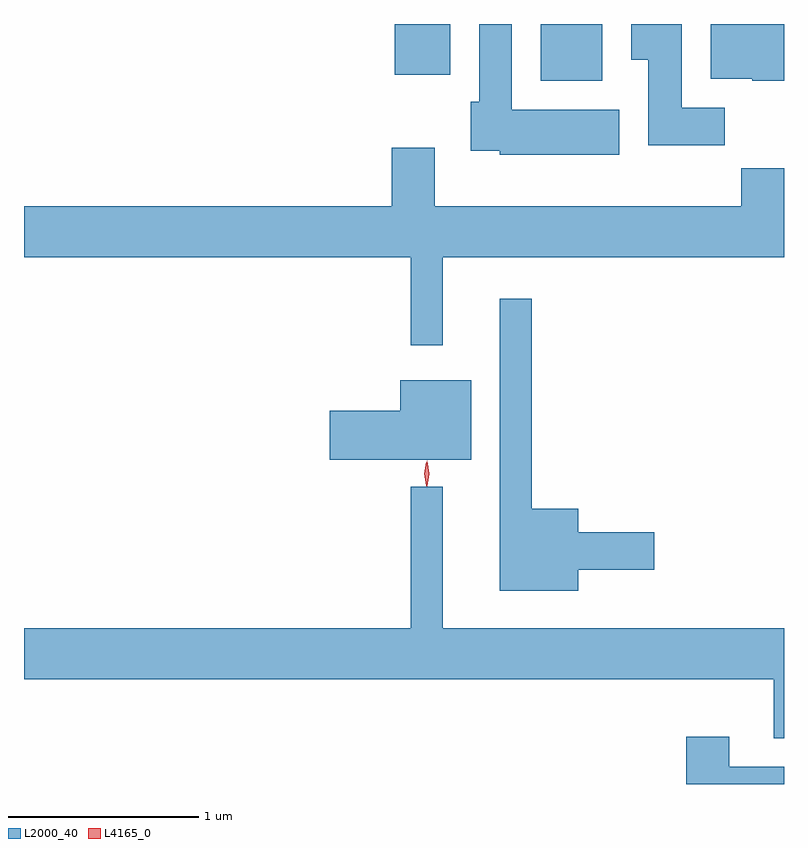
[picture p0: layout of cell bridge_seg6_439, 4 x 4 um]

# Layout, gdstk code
import gdstk
lib = gdstk.Library(unit=1e-6, precision=1e-09)
def R(c, l, rs):  # rectangles x0, y0, x1, y1
    for r in rs: c.add(gdstk.rectangle(r[:2], r[2:], *l))
def P(c, l, *ps):  # polygons
    for p in ps: c.add(gdstk.Polygon(p, *l))
L2000_40 = (2000, 40)
L4165_0 = (4165, 0)

bridge_seg6_439 = lib.new_cell('bridge_seg6_439')
R(bridge_seg6_439, L2000_40, [(618.596,1664.186,618.919,1664.484), (617.826,1664.216,618.119,1664.484)])
P(bridge_seg6_439, L2000_40, [(619.876,1664.484),(619.491,1664.484),(619.491,1664.196),(619.71,1664.196),(619.71,1664.186),(619.876,1664.186)],
  [(619.009,1664.034),(618.444,1664.034),(618.444,1664.484),(618.271,1664.484),(618.271,1664.074),(618.226,1664.074),(618.226,1663.816),(618.381,1663.816),(618.381,1663.796),(619.009,1663.796)],
  [(619.564,1664.044),(619.339,1664.044),(619.339,1664.484),(619.071,1664.484),(619.071,1664.296),(619.161,1664.296),(619.161,1663.846),(619.564,1663.846)],
  [(618.079,1663.256),(619.876,1663.256),(619.876,1663.724),(619.651,1663.724),(619.651,1663.524),(618.039,1663.524),(618.039,1663.834),(617.811,1663.834),(617.811,1663.524),(615.876,1663.524),(615.876,1663.256),(617.911,1663.256),(617.911,1662.793),(618.079,1662.793)],
  [(618.794,1661.611),(619.194,1661.611),(619.194,1661.809),(618.794,1661.809),(618.794,1661.934),(618.549,1661.934),(618.549,1663.038),(618.381,1663.038),(618.381,1661.501),(618.794,1661.501)],
  [(618.229,1662.609),(617.856,1662.609),(617.856,1662.449),(617.486,1662.449),(617.486,1662.191),(618.229,1662.191)],
  [(619.876,1661.304),(618.079,1661.304),(618.079,1662.048),(617.911,1662.048),(617.911,1661.304),(615.876,1661.304),(615.876,1661.036),(619.821,1661.036),(619.821,1660.726),(619.876,1660.726)],
  [(619.876,1660.574),(619.589,1660.574),(619.589,1660.734),(619.361,1660.734),(619.361,1660.484),(619.876,1660.484)])
P(bridge_seg6_439, L4165_0, [(617.992,1662.053),(617.992,1662.053),(617.982,1662.116),(617.992,1662.179),(617.992,1662.18),(617.993,1662.179),(618.002,1662.116),(617.993,1662.053)],
  [(617.996,1662.05),(617.988,1662.118),(617.998,1662.186),(617.998,1662.186),(617.999,1662.186),(618.008,1662.118),(617.998,1662.05),(617.997,1662.05)])

lib.write_gds('bridge_seg6_439.gds')
